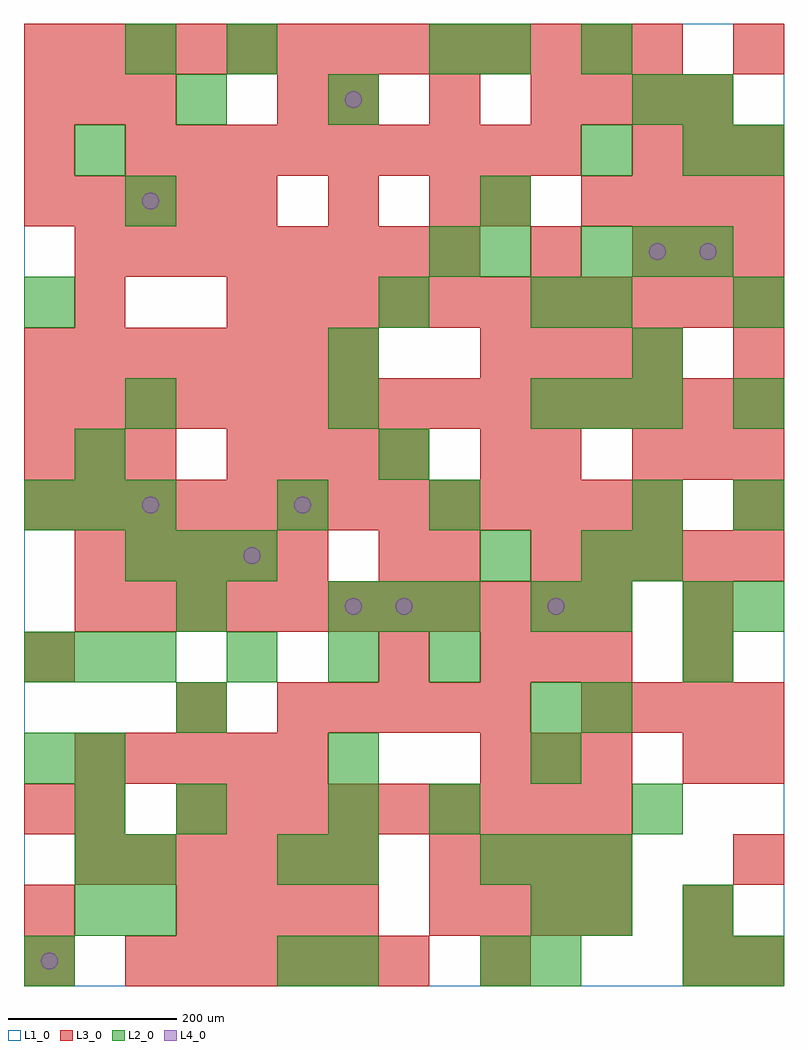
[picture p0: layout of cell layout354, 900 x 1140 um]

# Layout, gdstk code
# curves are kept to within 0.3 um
import gdstk
lib = gdstk.Library(unit=1e-6, precision=1e-09)
def R(c, l, rs):  # rectangles x0, y0, x1, y1
    for r in rs: c.add(gdstk.rectangle(r[:2], r[2:], *l))
def A(c, l, x, y, w, h, nx, ny, dx, dy):  # array of equal rectangles
    R(c, l, [(x+i*dx, y+j*dy, x+i*dx+w, y+j*dy+h) for i in range(nx) for j in range(ny)])
def P(c, l, *ps):  # polygons
    for p in ps: c.add(gdstk.Polygon(p, *l))
L1_0 = (1, 0)
L2_0 = (2, 0)
L3_0 = (3, 0)
L4_0 = (4, 0)

layout354 = lib.new_cell('layout354')
R(layout354, L1_0, [(0,0,900,1140)])
A(layout354, L2_0, 60, 60, 60, 60, 1, 4, 0, 60)
A(layout354, L2_0, 360, 120, 60, 60, 1, 3, 0, 60)
A(layout354, L2_0, 540, 120, 60, 60, 3, 1, 60, 0)
A(layout354, L2_0, 180, 180, 60, 60, 1, 3, 0, 120)
A(layout354, L2_0, 0, 360, 60, 60, 3, 2, 60, 180)
A(layout354, L2_0, 240, 360, 60, 60, 3, 1, 120, 0)
A(layout354, L2_0, 360, 420, 60, 60, 3, 1, 60, 0)
A(layout354, L2_0, 840, 420, 60, 60, 1, 4, 0, 120)
A(layout354, L2_0, 120, 480, 60, 60, 3, 1, 60, 0)
A(layout354, L2_0, 120, 660, 60, 60, 3, 1, 240, 0)
A(layout354, L2_0, 660, 840, 60, 60, 3, 1, 60, 0)
R(layout354, L2_0, [(0,0,60,60), (300,0,360,60), (360,0,420,60), (540,0,600,60), (600,0,660,60), (780,0,840,60), (840,0,900,60), (120,60,180,120), (600,60,660,120), (660,60,720,120), (780,60,840,120), (120,120,180,180), (300,120,360,180), (480,180,540,240), (720,180,780,240), (0,240,60,300), (600,240,660,300), (600,300,660,360), (660,300,720,360), (780,360,840,420), (600,420,660,480), (660,420,720,480), (780,420,840,480), (540,480,600,540), (660,480,720,540), (720,480,780,540), (300,540,360,600), (480,540,540,600), (720,540,780,600), (60,600,120,660), (420,600,480,660), (660,660,720,720), (720,660,780,720), (360,720,420,780), (720,720,780,780), (0,780,60,840), (420,780,480,840), (600,780,660,840), (660,780,720,840), (480,840,540,900), (540,840,600,900), (120,900,180,960), (540,900,600,960), (60,960,120,1020), (660,960,720,1020), (780,960,840,1020), (840,960,900,1020), (180,1020,240,1080), (360,1020,420,1080), (720,1020,780,1080), (780,1020,840,1080), (120,1080,180,1140), (240,1080,300,1140), (480,1080,540,1140), (540,1080,600,1140), (660,1080,720,1140)])
A(layout354, L3_0, 120, 0, 60, 60, 6, 1, 60, 0)
A(layout354, L3_0, 840, 0, 60, 60, 1, 3, 0, 120)
A(layout354, L3_0, 180, 60, 60, 60, 4, 1, 60, 0)
A(layout354, L3_0, 480, 60, 60, 60, 4, 2, 60, 60)
A(layout354, L3_0, 60, 120, 60, 60, 6, 1, 60, 0)
A(layout354, L3_0, 180, 180, 60, 60, 9, 1, 60, 0)
A(layout354, L3_0, 60, 240, 60, 60, 5, 2, 60, 240)
A(layout354, L3_0, 540, 240, 60, 60, 3, 2, 60, 120)
A(layout354, L3_0, 300, 300, 60, 60, 5, 1, 60, 0)
A(layout354, L3_0, 660, 300, 60, 60, 4, 2, 60, 600)
A(layout354, L3_0, 60, 420, 60, 60, 11, 1, 60, 0)
A(layout354, L3_0, 600, 480, 60, 60, 5, 1, 60, 0)
A(layout354, L3_0, 0, 540, 60, 60, 13, 2, 60, 540)
A(layout354, L3_0, 0, 600, 60, 60, 3, 2, 60, 420)
A(layout354, L3_0, 240, 600, 60, 60, 4, 1, 60, 0)
A(layout354, L3_0, 720, 600, 60, 60, 3, 2, 60, 240)
A(layout354, L3_0, 0, 660, 60, 60, 15, 1, 60, 0)
A(layout354, L3_0, 0, 720, 60, 60, 7, 1, 60, 0)
A(layout354, L3_0, 540, 720, 60, 60, 4, 1, 60, 0)
A(layout354, L3_0, 240, 780, 60, 60, 11, 1, 60, 0)
A(layout354, L3_0, 60, 840, 60, 60, 8, 1, 60, 0)
A(layout354, L3_0, 0, 900, 60, 60, 5, 1, 60, 0)
A(layout354, L3_0, 120, 960, 60, 60, 9, 1, 60, 0)
A(layout354, L3_0, 720, 960, 60, 60, 3, 1, 60, 0)
A(layout354, L3_0, 360, 1020, 60, 60, 3, 1, 120, 0)
A(layout354, L3_0, 660, 1020, 60, 60, 3, 1, 60, 0)
R(layout354, L3_0, [(0,0,60,60), (540,0,600,60), (780,0,840,60), (0,60,60,120), (780,60,840,120), (0,180,60,240), (60,180,120,240), (780,240,840,300), (180,300,240,360), (0,360,60,420), (420,360,480,420), (780,360,840,420), (780,420,840,480), (420,480,480,540), (480,480,540,540), (840,540,900,600), (540,600,600,660), (600,600,660,660), (840,720,900,780), (60,780,120,840), (600,840,660,900), (360,900,420,960), (480,900,540,960), (540,900,600,960), (0,960,60,1020), (300,1020,360,1080), (840,1080,900,1140)])
P(layout354, L4_0, [(40,30),(39.239,33.827),(37.071,37.071),(33.827,39.239),(30,40),(26.173,39.239),(22.929,37.071),(20.761,33.827),(20,30),(20.761,26.173),(22.929,22.929),(26.173,20.761),(30,20),(33.827,20.761),(37.071,22.929),(39.239,26.173)],
  [(160,570),(159.239,573.827),(157.071,577.071),(153.827,579.239),(150,580),(146.173,579.239),(142.929,577.071),(140.761,573.827),(140,570),(140.761,566.173),(142.929,562.929),(146.173,560.761),(150,560),(153.827,560.761),(157.071,562.929),(159.239,566.173)],
  [(160,930),(159.239,933.827),(157.071,937.071),(153.827,939.239),(150,940),(146.173,939.239),(142.929,937.071),(140.761,933.827),(140,930),(140.761,926.173),(142.929,922.929),(146.173,920.761),(150,920),(153.827,920.761),(157.071,922.929),(159.239,926.173)],
  [(280,510),(279.239,513.827),(277.071,517.071),(273.827,519.239),(270,520),(266.173,519.239),(262.929,517.071),(260.761,513.827),(260,510),(260.761,506.173),(262.929,502.929),(266.173,500.761),(270,500),(273.827,500.761),(277.071,502.929),(279.239,506.173)],
  [(340,570),(339.239,573.827),(337.071,577.071),(333.827,579.239),(330,580),(326.173,579.239),(322.929,577.071),(320.761,573.827),(320,570),(320.761,566.173),(322.929,562.929),(326.173,560.761),(330,560),(333.827,560.761),(337.071,562.929),(339.239,566.173)],
  [(400,450),(399.239,453.827),(397.071,457.071),(393.827,459.239),(390,460),(386.173,459.239),(382.929,457.071),(380.761,453.827),(380,450),(380.761,446.173),(382.929,442.929),(386.173,440.761),(390,440),(393.827,440.761),(397.071,442.929),(399.239,446.173)],
  [(400,1050),(399.239,1053.827),(397.071,1057.071),(393.827,1059.239),(390,1060),(386.173,1059.239),(382.929,1057.071),(380.761,1053.827),(380,1050),(380.761,1046.173),(382.929,1042.929),(386.173,1040.761),(390,1040),(393.827,1040.761),(397.071,1042.929),(399.239,1046.173)],
  [(460,450),(459.239,453.827),(457.071,457.071),(453.827,459.239),(450,460),(446.173,459.239),(442.929,457.071),(440.761,453.827),(440,450),(440.761,446.173),(442.929,442.929),(446.173,440.761),(450,440),(453.827,440.761),(457.071,442.929),(459.239,446.173)],
  [(640,450),(639.239,453.827),(637.071,457.071),(633.827,459.239),(630,460),(626.173,459.239),(622.929,457.071),(620.761,453.827),(620,450),(620.761,446.173),(622.929,442.929),(626.173,440.761),(630,440),(633.827,440.761),(637.071,442.929),(639.239,446.173)],
  [(760,870),(759.239,873.827),(757.071,877.071),(753.827,879.239),(750,880),(746.173,879.239),(742.929,877.071),(740.761,873.827),(740,870),(740.761,866.173),(742.929,862.929),(746.173,860.761),(750,860),(753.827,860.761),(757.071,862.929),(759.239,866.173)],
  [(820,870),(819.239,873.827),(817.071,877.071),(813.827,879.239),(810,880),(806.173,879.239),(802.929,877.071),(800.761,873.827),(800,870),(800.761,866.173),(802.929,862.929),(806.173,860.761),(810,860),(813.827,860.761),(817.071,862.929),(819.239,866.173)])

lib.write_gds('layout354.gds')
